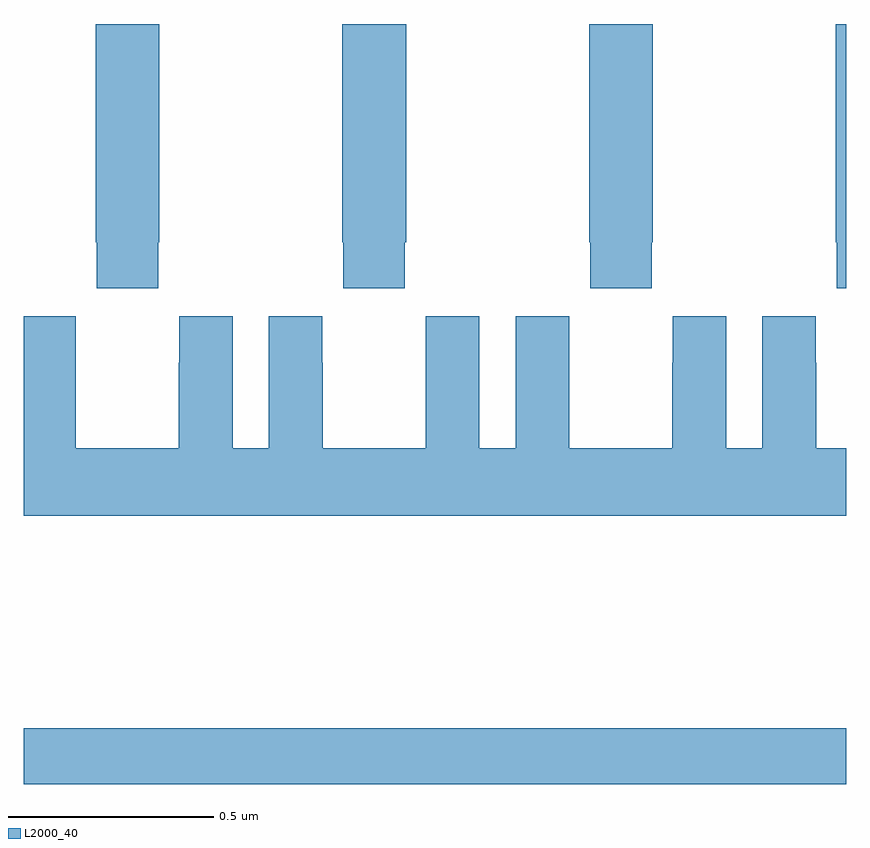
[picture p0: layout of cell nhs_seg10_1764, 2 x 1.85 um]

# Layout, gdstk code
import gdstk
lib = gdstk.Library(unit=1e-6, precision=1e-09)
def R(c, l, rs):  # rectangles x0, y0, x1, y1
    for r in rs: c.add(gdstk.rectangle(r[:2], r[2:], *l))
def P(c, l, *ps):  # polygons
    for p in ps: c.add(gdstk.Polygon(p, *l))
L2000_40 = (2000, 40)

nhs_seg10_1764 = lib.new_cell('nhs_seg10_1764')
R(nhs_seg10_1764, L2000_40, [(132,1311.652,134,1311.788)])
P(nhs_seg10_1764, L2000_40, [(132.327,1312.969),(132.33,1312.969),(132.33,1313.5),(132.175,1313.5),(132.175,1312.969),(132.177,1312.969),(132.177,1312.857),(132.327,1312.857)],
  [(132.927,1312.969),(132.93,1312.969),(132.93,1313.5),(132.775,1313.5),(132.775,1312.969),(132.777,1312.969),(132.777,1312.857),(132.927,1312.857)],
  [(133.527,1312.969),(133.53,1312.969),(133.53,1313.5),(133.375,1313.5),(133.375,1312.969),(133.377,1312.969),(133.377,1312.857),(133.527,1312.857)],
  [(134,1313.5),(133.975,1313.5),(133.975,1312.969),(133.977,1312.969),(133.977,1312.857),(134,1312.857)],
  [(134,1312.468),(133.927,1312.468),(133.927,1312.676),(133.926,1312.676),(133.926,1312.789),(133.796,1312.789),(133.796,1312.468),(133.708,1312.468),(133.708,1312.789),(133.578,1312.789),(133.578,1312.676),(133.577,1312.676),(133.577,1312.468),(133.327,1312.468),(133.327,1312.676),(133.326,1312.676),(133.326,1312.789),(133.196,1312.789),(133.196,1312.468),(133.108,1312.468),(133.108,1312.789),(132.978,1312.789),(132.978,1312.676),(132.977,1312.676),(132.977,1312.468),(132.727,1312.468),(132.727,1312.676),(132.726,1312.676),(132.726,1312.789),(132.596,1312.789),(132.596,1312.468),(132.508,1312.468),(132.508,1312.789),(132.378,1312.789),(132.378,1312.676),(132.377,1312.676),(132.377,1312.468),(132.127,1312.468),(132.127,1312.676),(132.126,1312.676),(132.126,1312.789),(132,1312.789),(132,1312.304),(134,1312.304)])

lib.write_gds('nhs_seg10_1764.gds')
